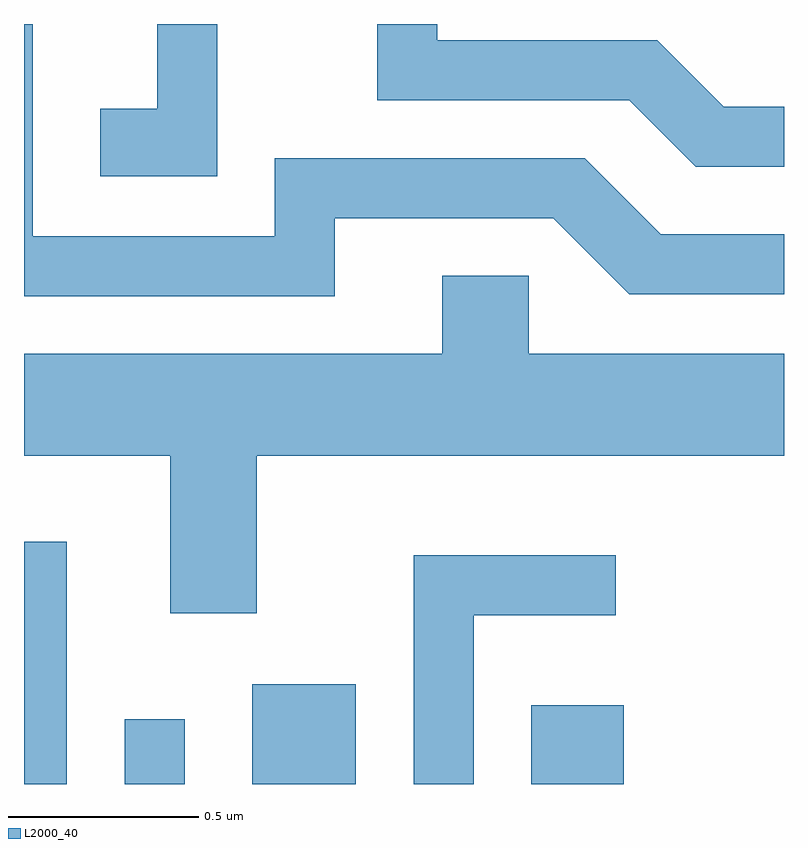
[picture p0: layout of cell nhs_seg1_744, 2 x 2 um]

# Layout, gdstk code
import gdstk
lib = gdstk.Library(unit=1e-6, precision=1e-09)
def R(c, l, rs):  # rectangles x0, y0, x1, y1
    for r in rs: c.add(gdstk.rectangle(r[:2], r[2:], *l))
def P(c, l, *ps):  # polygons
    for p in ps: c.add(gdstk.Polygon(p, *l))
L2000_40 = (2000, 40)

nhs_seg1_744 = lib.new_cell('nhs_seg1_744')
R(nhs_seg1_744, L2000_40, [(190.611,898.712,190.724,899.349), (190.876,898.712,191.034,898.883), (191.211,898.712,191.484,898.974), (191.946,898.712,192.189,898.919)])
P(nhs_seg1_744, L2000_40, [(191.429,900.201),(192.004,900.201),(192.204,900.001),(192.611,900.001),(192.611,900.159),(192.287,900.159),(192.087,900.359),(191.271,900.359),(191.271,900.154),(190.634,900.154),(190.634,900.712),(190.611,900.712),(190.611,899.996),(191.429,899.996)],
  [(192.611,900.494),(192.452,900.494),(192.277,900.669),(191.699,900.669),(191.699,900.712),(191.541,900.712),(191.541,900.511),(192.204,900.511),(192.379,900.336),(192.611,900.336)],
  [(191.119,900.712),(190.961,900.712),(190.961,900.489),(190.811,900.489),(190.811,900.311),(191.119,900.311)],
  [(191.224,899.576),(192.611,899.576),(192.611,899.844),(191.939,899.844),(191.939,900.049),(191.711,900.049),(191.711,899.844),(190.611,899.844),(190.611,899.576),(190.996,899.576),(190.996,899.161),(191.224,899.161)],
  [(191.794,899.156),(192.168,899.156),(192.168,899.314),(191.636,899.314),(191.636,898.712),(191.794,898.712)])

lib.write_gds('nhs_seg1_744.gds')
